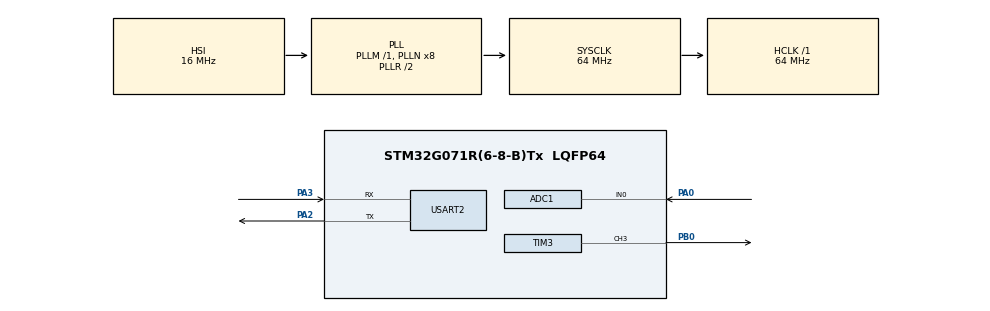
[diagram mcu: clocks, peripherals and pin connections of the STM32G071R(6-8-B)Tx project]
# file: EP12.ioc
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ADC1.Channel-0\#ChannelRegularConversion=ADC_CHANNEL_0
ADC1.Channel-1\#ChannelRegularConversion=ADC_CHANNEL_TEMPSENSOR
ADC1.ContinuousConvMode=ENABLE
ADC1.DMAContinuousRequests=ENABLE
ADC1.NbrOfConversion=2
ADC1.NbrOfConversionFlag=1
ADC1.Rank-0\#ChannelRegularConversion=1
ADC1.Rank-1\#ChannelRegularConversion=2
ADC1.SamplingTime-0\#ChannelRegularConversion=ADC_SAMPLINGTIME_COMMON_1
ADC1.SamplingTime-1\#ChannelRegularConversion=ADC_SAMPLINGTIME_COMMON_2
ADC1.SamplingTimeCommon1=ADC_SAMPLETIME_12CYCLES_5
ADC1.SamplingTimeCommon2=ADC_SAMPLETIME_160CYCLES_5
ADC1.SelectedChannel=ADC_CHANNEL_0|ADC_CHANNEL_TEMPSENSOR
ADC1.master=1
Dma.ADC1.0.Direction=DMA_PERIPH_TO_MEMORY
Dma.ADC1.0.EventEnable=DISABLE
Dma.ADC1.0.Instance=DMA1_Channel1
Dma.ADC1.0.MemDataAlignment=DMA_MDATAALIGN_HALFWORD
Dma.ADC1.0.MemInc=DMA_MINC_ENABLE
Dma.ADC1.0.Mode=DMA_CIRCULAR
Dma.ADC1.0.PeriphDataAlignment=DMA_PDATAALIGN_HALFWORD
Dma.ADC1.0.PeriphInc=DMA_PINC_DISABLE
Dma.ADC1.0.Polarity=HAL_DMAMUX_REQ_GEN_RISING
Dma.ADC1.0.Priority=DMA_PRIORITY_LOW
Dma.ADC1.0.RequestNumber=1
Dma.ADC1.0.SignalID=NONE
Dma.ADC1.0.SyncEnable=DISABLE
Dma.ADC1.0.SyncPolarity=HAL_DMAMUX_SYNC_NO_EVENT
Dma.ADC1.0.SyncRequestNumber=1
Dma.ADC1.0.SyncSignalID=NONE
Dma.Request0=ADC1
Mcu.Family=STM32G0
Mcu.Name=STM32G071R(6-8-B)Tx
Mcu.Package=LQFP64
NVIC.DMA1_Channel1_IRQn=true\:1\:0\:true\:false\:true\:false\:true\:true
NVIC.TIM3_IRQn=true\:0\:0\:false\:false\:true\:true\:true\:true
PA0.Mode=IN0
PA0.Signal=ADC1_IN0
PA2.Mode=Asynchronous
PA2.Signal=USART2_TX
PA3.Mode=Asynchronous
PA3.Signal=USART2_RX
PB0.Signal=S_TIM3_CH3
ProjectManager.HeapSize=0x200
ProjectManager.StackSize=0x400
ProjectManager.TargetToolchain=STM32CubeIDE
RCC.ADCFreq_Value=64000000
RCC.AHBFreq_Value=64000000
RCC.CortexFreq_Value=64000000
RCC.EXTERNAL_CLOCK_VALUE=48000
RCC.HCLKFreq_Value=64000000
RCC.HSE_VALUE=8000000
RCC.HSI_VALUE=16000000
RCC.LSE_VALUE=32768
RCC.SYSCLKFreq_VALUE=64000000
RCC.SYSCLKSource=RCC_SYSCLKSOURCE_PLLCLK
RCC.VCOOutputFreq_Value=128000000
SH.S_TIM3_CH3.0=TIM3_CH3,PWM Generation3 CH3
TIM3.Channel-PWM\ Generation3\ CH3=TIM_CHANNEL_3
TIM3.Period=9999
TIM3.Prescaler=63
USART2.VirtualMode-Asynchronous=VM_ASYNC
VP_ADC1_TempSens_Input.Mode=IN-TempSens
VP_TIM3_VS_ClockSourceINT.Mode=Internal
board=custom

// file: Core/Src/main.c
/* USER CODE BEGIN Header */
/**
  ******************************************************************************
  * @file           : main.c
  * @brief          : Main program body
  ******************************************************************************
  * @attention
  *
  * Copyright (c) 2025 STMicroelectronics.
  * All rights reserved.
  *
  * This software is licensed under terms that can be found in the LICENSE file
  * in the root directory of this software component.
  * If no LICENSE file comes with this software, it is provided AS-IS.
  *
  ******************************************************************************
  */
/* USER CODE END Header */
#include "main.h"
#include "adc.h"
#include "dma.h"
#include "tim.h"
#include "usart.h"
#include "gpio.h"

/* USER CODE BEGIN Includes */
#include "stdio.h"
/* USER CODE END Includes */

/* USER CODE BEGIN PD */
#define TEMP30_CAL_ADDR ((uint16_t*) ((uint32_t) 0x1FFF75A8))
#define TEMP130_CAL_ADDR ((uint16_t*) ((uint32_t) 0x1FFF75CA))
/* USER CODE END PD */

/* USER CODE BEGIN PV */
uint16_t u16AdcBuf[2];
uint8_t bPrintFlag = 0;
/* USER CODE END PV */

void SystemClock_Config(void);

/* USER CODE BEGIN 0 */
int __io_putchar(int ch)
{
	HAL_UART_Transmit(&huart2,(uint8_t *) &ch, 1, 100);
	return ch;
}

int32_t CalculateTemp(uint16_t TempSense)
{
	int32_t temp;
	TempSense = (3300 * TempSense)/ 3000;
	temp = __LL_ADC_CALC_TEMPERATURE(3000, TempSense,LL_ADC_RESOLUTION_12B);
	return temp;
}
/* USER CODE END 0 */

int main(void)
{

  /* MCU Configuration--------------------------------------------------------*/

  /* Reset of all peripherals, Initializes the Flash interface and the Systick. */
  HAL_Init();

  /* Configure the system clock */
  SystemClock_Config();

  /* Initialize all configured peripherals */
  MX_GPIO_Init();
  MX_DMA_Init();
  MX_ADC1_Init();
  MX_USART2_UART_Init();
  MX_TIM3_Init();
  /* USER CODE BEGIN 2 */
  HAL_ADCEx_Calibration_Start(&hadc1);
  HAL_ADC_Start_DMA(&hadc1, (uint32_t *)u16AdcBuf, 2);
  HAL_TIM_Base_Start_IT(&htim3);
  HAL_TIM_PWM_Start(&htim3, TIM_CHANNEL_3);
  /* USER CODE END 2 */

  /* Infinite loop */
  while (1)
  {

    /* USER CODE BEGIN 3 */
	  if(bPrintFlag)
	  {
		  bPrintFlag = 0;

		  printf("Duty Cycle: %lu %%\r\n", htim3.Instance->CCR3/100);
		  printf("Temperature: %li degC \r\n", CalculateTemp(u16AdcBuf[1]));
		  HAL_ADC_Start_DMA(&hadc1, (uint32_t *)u16AdcBuf, 2);
	  }
  }
  /* USER CODE END 3 */
}

void SystemClock_Config(void)
{
  RCC_OscInitTypeDef RCC_OscInitStruct = {0};
  RCC_ClkInitTypeDef RCC_ClkInitStruct = {0};

  /** Configure the main internal regulator output voltage
  */
  HAL_PWREx_ControlVoltageScaling(PWR_REGULATOR_VOLTAGE_SCALE1);

  /** Initializes the RCC Oscillators according to the specified parameters
  * in the RCC_OscInitTypeDef structure.
  */
  RCC_OscInitStruct.OscillatorType = RCC_OSCILLATORTYPE_HSI;
  RCC_OscInitStruct.HSIState = RCC_HSI_ON;
  RCC_OscInitStruct.HSIDiv = RCC_HSI_DIV1;
  RCC_OscInitStruct.HSICalibrationValue = RCC_HSICALIBRATION_DEFAULT;
  RCC_OscInitStruct.PLL.PLLState = RCC_PLL_ON;
  RCC_OscInitStruct.PLL.PLLSource = RCC_PLLSOURCE_HSI;
  RCC_OscInitStruct.PLL.PLLM = RCC_PLLM_DIV1;
  RCC_OscInitStruct.PLL.PLLN = 8;
  RCC_OscInitStruct.PLL.PLLP = RCC_PLLP_DIV2;
  RCC_OscInitStruct.PLL.PLLQ = RCC_PLLQ_DIV2;
  RCC_OscInitStruct.PLL.PLLR = RCC_PLLR_DIV2;
  if (HAL_RCC_OscConfig(&RCC_OscInitStruct) != HAL_OK)
  {
    Error_Handler();
  }

  /** Initializes the CPU, AHB and APB buses clocks
  */
  RCC_ClkInitStruct.ClockType = RCC_CLOCKTYPE_HCLK|RCC_CLOCKTYPE_SYSCLK
                              |RCC_CLOCKTYPE_PCLK1;
  RCC_ClkInitStruct.SYSCLKSource = RCC_SYSCLKSOURCE_PLLCLK;
  RCC_ClkInitStruct.AHBCLKDivider = RCC_SYSCLK_DIV1;
  RCC_ClkInitStruct.APB1CLKDivider = RCC_HCLK_DIV1;

  if (HAL_RCC_ClockConfig(&RCC_ClkInitStruct, FLASH_LATENCY_2) != HAL_OK)
  {
    Error_Handler();
  }
}

/* USER CODE BEGIN 4 */
void HAL_ADC_ConvCpltCallback(ADC_HandleTypeDef *hadc)
{
	uint16_t pwmValue;
	// Map ADC value to PWM duty cycle
	pwmValue = (u16AdcBuf[0] * 9999) / 4095;
	// Update PWM output
	__HAL_TIM_SET_COMPARE(&htim3, TIM_CHANNEL_3, pwmValue);
}

void HAL_TIM_PeriodElapsedCallback(TIM_HandleTypeDef *htim)
{
	static uint16_t  count = 0;
	if(count++ > 100)
	{
		bPrintFlag = 1;
		count = 0;
		HAL_ADC_Stop_DMA(&hadc1);
	}
}
/* USER CODE END 4 */

void Error_Handler(void)
{
  __disable_irq();
  while (1)
  {
  }
}
